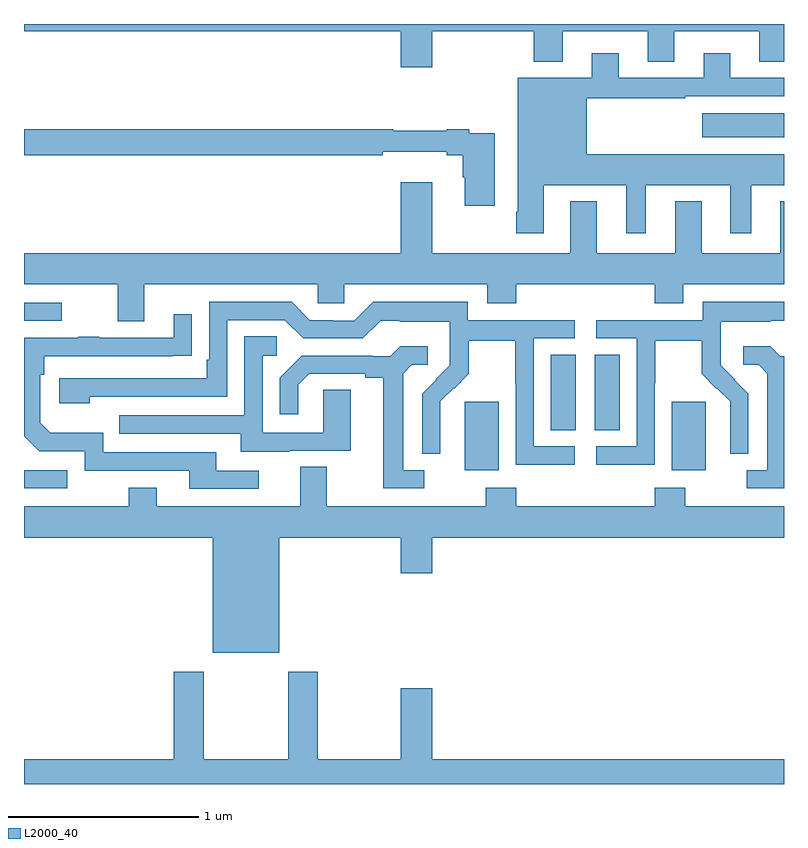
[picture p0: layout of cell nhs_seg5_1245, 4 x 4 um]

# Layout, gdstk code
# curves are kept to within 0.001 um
import gdstk
lib = gdstk.Library(unit=1e-6, precision=1e-09)
def R(c, l, rs):  # rectangles x0, y0, x1, y1
    for r in rs: c.add(gdstk.rectangle(r[:2], r[2:], *l))
def P(c, l, *ps):  # polygons
    for p in ps: c.add(gdstk.Polygon(p, *l))
L2000_40 = (2000, 40)

nhs_seg5_1245 = lib.new_cell('nhs_seg5_1245')
R(nhs_seg5_1245, L2000_40, [(187,854.355,187.228,854.451), (189.32,854.45,189.499,854.811), (190.409,854.45,190.588,854.811), (189.773,854.662,189.904,855.059), (190.004,854.662,190.135,855.059), (187,855.237,187.198,855.333), (190.569,856.202,191,856.33)])
P(nhs_seg5_1245, L2000_40, [(187,856.76),(188.984,856.76),(188.984,856.572),(189.148,856.572),(189.148,856.76),(189.683,856.76),(189.683,856.601),(189.835,856.601),(189.835,856.76),(190.283,856.76),(190.283,856.6),(190.423,856.6),(190.423,856.76),(190.871,856.76),(190.871,856.6),(191,856.6),(191,856.799),(187,856.799)],
  [(189.736,855.95),(190.169,855.95),(190.169,855.699),(190.273,855.699),(190.273,855.95),(190.718,855.95),(190.718,855.699),(190.828,855.699),(190.828,855.95),(191,855.95),(191,856.114),(189.961,856.114),(189.961,856.407),(190.481,856.407),(190.481,856.419),(191,856.419),(191,856.515),(190.717,856.515),(190.717,856.645),(190.577,856.645),(190.577,856.515),(190.129,856.515),(190.129,856.645),(189.989,856.645),(189.989,856.516),(189.599,856.516),(189.599,855.811),(189.592,855.811),(189.592,855.699),(189.736,855.699)],
  [(189.478,856.224),(189.344,856.224),(189.344,856.244),(189.224,856.244),(189.224,856.237),(188.944,856.237),(188.944,856.244),(187,856.244),(187,856.108),(188.888,856.108),(188.888,856.127),(189.224,856.127),(189.224,856.108),(189.308,856.108),(189.308,855.993),(189.32,855.993),(189.32,855.843),(189.478,855.843)],
  [(190.319,855.329),(190.471,855.329),(190.471,855.428),(191,855.428),(191,855.865),(190.979,855.865),(190.979,855.592),(190.567,855.592),(190.567,855.865),(190.427,855.865),(190.427,855.592),(190.015,855.592),(190.015,855.865),(189.875,855.865),(189.875,855.592),(189.148,855.592),(189.148,855.967),(188.984,855.967),(188.984,855.592),(187,855.592),(187,855.428),(187.493,855.428),(187.493,855.234),(187.633,855.234),(187.633,855.428),(188.547,855.428),(188.547,855.33),(188.685,855.33),(188.685,855.428),(189.437,855.428),(189.437,855.329),(189.59,855.329),(189.59,855.428),(190.319,855.428)],
  [(190.32,854.908),(190.323,854.908),(190.323,855.132),(190.567,855.132),(190.567,854.957),(190.644,854.88),(190.647,854.883),(190.718,854.813),(190.718,854.69),(190.716,854.69),(190.716,854.536),(190.812,854.536),(190.812,854.854),(190.666,855.002),(190.666,855.099),(190.668,855.099),(190.668,855.233),(190.931,855.233),(190.931,855.237),(191,855.237),(191,855.337),(190.572,855.337),(190.572,855.24),(190.011,855.24),(190.011,855.144),(190.224,855.144),(190.224,854.577),(190.011,854.577),(190.011,854.479),(190.32,854.479)],
  [(189.898,854.577),(189.684,854.577),(189.684,855.144),(189.898,855.144),(189.898,855.24),(189.336,855.24),(189.336,855.337),(188.839,855.337),(188.739,855.237),(188.624,855.237),(188.624,855.24),(188.505,855.24),(188.409,855.336),(187.974,855.336),(187.974,855.031),(187.961,855.031),(187.961,854.934),(187.185,854.934),(187.185,854.804),(187.346,854.804),(187.346,854.838),(188.07,854.838),(188.07,855.24),(188.373,855.24),(188.469,855.144),(188.784,855.144),(188.877,855.237),(188.977,855.237),(188.977,855.233),(189.24,855.233),(189.24,855.099),(189.242,855.099),(189.242,855.002),(189.096,854.854),(189.096,854.536),(189.192,854.536),(189.191,854.813),(189.261,854.883),(189.264,854.88),(189.341,854.957),(189.341,855.132),(189.586,855.132),(189.586,854.908),(189.588,854.908),(189.588,854.479),(189.898,854.479)],
  [(188.236,854.448),(188.011,854.448),(188.011,854.544),(187.416,854.544),(187.416,854.647),(187.139,854.647),(187.086,854.7),(187.086,854.954),(187.106,854.954),(187.106,855.051),(187.883,855.052),(187.883,855.271),(187.787,855.271),(187.787,855.147),(187.397,855.147),(187.397,855.152),(187.285,855.152),(187.285,855.147),(187,855.147),(187,854.63),(187.08,854.55),(187.32,854.55),(187.32,854.448),(187.871,854.448),(187.871,854.352),(188.236,854.352)],
  [(188.395,854.553),(188.719,854.553),(188.719,854.873),(188.574,854.873),(188.574,854.649),(188.256,854.649),(188.256,855.054),(188.329,855.054),(188.329,855.155),(188.16,855.155),(188.16,854.739),(187.501,854.739),(187.501,854.643),(188.141,854.643),(188.141,854.549),(188.395,854.549)],
  [(189.106,854.451),(188.995,854.451),(188.995,854.959),(189.042,855.006),(189.124,855.006),(189.124,855.103),(188.98,855.103),(188.928,855.051),(188.834,855.051),(188.834,855.054),(188.462,855.054),(188.346,854.938),(188.346,854.745),(188.443,854.745),(188.443,854.901),(188.5,854.958),(188.795,854.958),(188.795,854.936),(188.891,854.936),(188.891,854.355),(189.106,854.355)],
  [(191,855.051),(190.98,855.051),(190.928,855.103),(190.785,855.103),(190.785,855.006),(190.866,855.006),(190.913,854.959),(190.913,854.451),(190.803,854.451),(190.803,854.355),(191,854.355)],
  [(188.344,854.096),(188.984,854.096),(188.984,853.908),(189.148,853.908),(189.148,854.096),(191,854.096),(191,854.26),(190.479,854.26),(190.479,854.359),(190.319,854.359),(190.319,854.26),(189.59,854.26),(189.59,854.359),(189.43,854.359),(189.43,854.26),(188.593,854.26),(188.593,854.468),(188.453,854.468),(188.453,854.26),(187.699,854.26),(187.699,854.359),(187.552,854.359),(187.552,854.26),(187,854.26),(187,854.096),(187.994,854.096),(187.994,853.49),(188.344,853.49)],
  [(191,852.928),(189.148,852.928),(189.148,853.303),(188.984,853.303),(188.984,852.928),(188.547,852.928),(188.547,853.39),(188.392,853.39),(188.392,852.928),(187.947,852.928),(187.947,853.39),(187.787,853.39),(187.787,852.928),(187,852.928),(187,852.799),(191,852.799)])

lib.write_gds('nhs_seg5_1245.gds')
